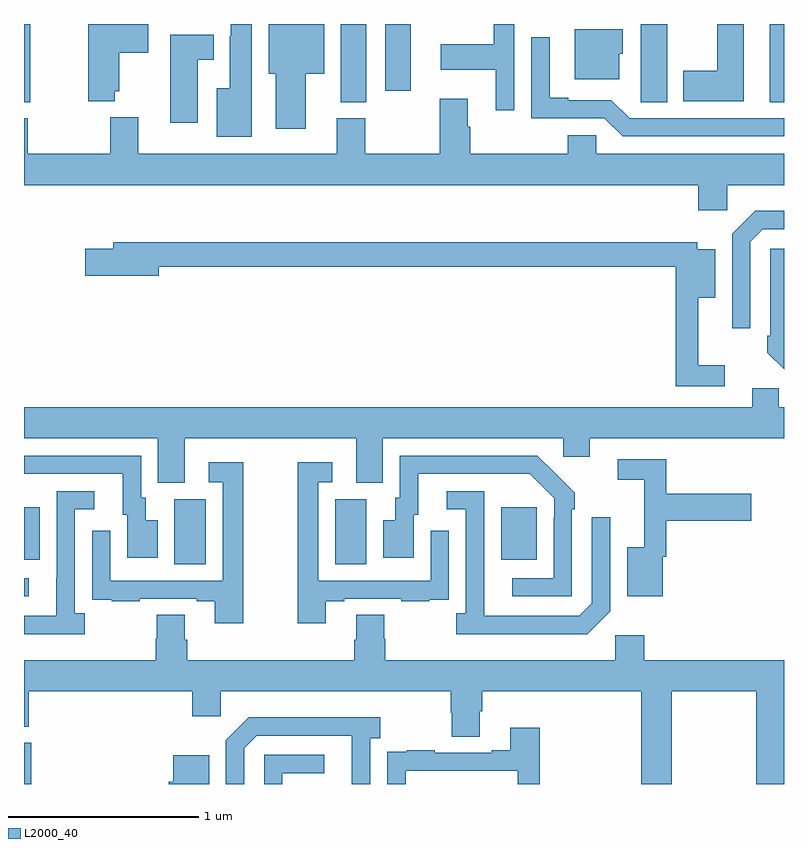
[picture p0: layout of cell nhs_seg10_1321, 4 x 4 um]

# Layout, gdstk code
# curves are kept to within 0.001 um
import gdstk
lib = gdstk.Library(unit=1e-6, precision=1e-09)
def R(c, l, rs):  # rectangles x0, y0, x1, y1
    for r in rs: c.add(gdstk.rectangle(r[:2], r[2:], *l))
def P(c, l, *ps):  # polygons
    for p in ps: c.add(gdstk.Polygon(p, *l))
L2000_40 = (2000, 40)

nhs_seg10_1321 = lib.new_cell('nhs_seg10_1321')
R(nhs_seg10_1321, L2000_40, [(179,1294.5,179.039,1294.716), (179,1295.487,179.026,1295.583), (179.792,1295.656,179.956,1296), (180.638,1295.656,180.802,1296), (179,1295.681,179.083,1295.956), (181.511,1295.681,181.699,1295.956), (179,1298.089,179.034,1298.5), (180.668,1298.089,180.802,1298.5), (182.924,1298.089,183,1298.5), (180.902,1298.148,181.036,1298.5)])
P(nhs_seg10_1321, L2000_40, [(180.484,1298.237),(180.58,1298.237),(180.58,1298.5),(180.287,1298.5),(180.287,1298.237),(180.326,1298.237),(180.326,1297.95),(180.484,1297.95)],
  [(182.788,1298.5),(182.648,1298.5),(182.648,1298.253),(182.471,1298.253),(182.471,1298.093),(182.788,1298.093)],
  [(179.478,1298.147),(179.5,1298.147),(179.5,1298.35),(179.653,1298.35),(179.653,1298.5),(179.338,1298.5),(179.338,1298.093),(179.478,1298.093)],
  [(181.581,1298.5),(181.473,1298.5),(181.473,1298.393),(181.194,1298.393),(181.194,1298.258),(181.484,1298.258),(181.484,1298.046),(181.581,1298.046)],
  [(182.386,1298.5),(182.246,1298.5),(182.246,1298.2),(182.247,1298.2),(182.247,1298.089),(182.386,1298.089)],
  [(180.199,1298.5),(180.087,1298.5),(180.087,1298.435),(180.083,1298.435),(180.083,1298.161),(180.014,1298.161),(180.014,1297.907),(180.199,1297.907)],
  [(182.134,1298.343),(182.152,1298.343),(182.152,1298.473),(181.898,1298.473),(181.898,1298.21),(182.134,1298.21)],
  [(179.914,1298.312),(179.998,1298.312),(179.998,1298.443),(179.771,1298.443),(179.771,1297.98),(179.914,1297.98)],
  [(183,1298.004),(182.187,1298.004),(182.091,1298.1),(181.864,1298.1),(181.864,1298.113),(181.768,1298.113),(181.768,1298.431),(181.671,1298.431),(181.671,1298.004),(182.055,1298.004),(182.151,1297.908),(183,1297.908)],
  [(182.7,1297.652),(183,1297.652),(183,1297.816),(182.013,1297.816),(182.013,1297.914),(181.862,1297.914),(181.862,1297.816),(181.349,1297.816),(181.349,1297.958),(181.336,1297.958),(181.336,1298.107),(181.189,1298.107),(181.189,1297.816),(180.795,1297.816),(180.795,1298.004),(180.647,1298.004),(180.647,1297.816),(179.602,1297.816),(179.602,1298.008),(179.455,1298.008),(179.455,1297.816),(179.019,1297.816),(179.019,1298.004),(179,1298.004),(179,1297.652),(182.549,1297.652),(182.549,1297.521),(182.7,1297.521)],
  [(182.823,1297.353),(182.889,1297.419),(183,1297.419),(183,1297.516),(182.848,1297.516),(182.727,1297.395),(182.727,1296.9),(182.823,1296.9)],
  [(182.689,1296.703),(182.549,1296.703),(182.549,1297.058),(182.638,1297.058),(182.638,1297.315),(182.544,1297.315),(182.544,1297.351),(179.471,1297.351),(179.471,1297.317),(179.322,1297.317),(179.322,1297.175),(179.71,1297.175),(179.71,1297.222),(182.431,1297.222),(182.431,1296.594),(182.689,1296.594)],
  [(183,1297.317),(182.928,1297.317),(182.928,1296.859),(182.913,1296.859),(182.913,1296.771),(183,1296.684)],
  [(179.845,1296.32),(180.749,1296.32),(180.749,1296.085),(180.889,1296.085),(180.889,1296.32),(181.839,1296.32),(181.839,1296.222),(181.978,1296.222),(181.978,1296.32),(183,1296.32),(183,1296.484),(182.973,1296.484),(182.973,1296.582),(182.834,1296.582),(182.834,1296.484),(179,1296.484),(179,1296.32),(179.705,1296.32),(179.705,1296.085),(179.845,1296.085)],
  [(181.884,1295.945),(181.899,1295.945),(181.899,1296.033),(181.702,1296.228),(180.978,1296.228),(180.978,1296.006),(180.953,1296.006),(180.953,1295.887),(180.89,1295.887),(180.89,1295.691),(181.051,1295.691),(181.051,1295.916),(181.075,1295.916),(181.075,1296.132),(181.663,1296.132),(181.791,1296.003),(181.791,1295.903),(181.788,1295.903),(181.788,1295.583),(181.569,1295.583),(181.569,1295.487),(181.884,1295.487)],
  [(179.704,1295.887),(179.641,1295.887),(179.641,1296.006),(179.616,1296.006),(179.616,1296.228),(179,1296.228),(179,1296.132),(179.519,1296.132),(179.519,1295.916),(179.543,1295.916),(179.543,1295.691),(179.704,1295.691)],
  [(182.362,1295.697),(182.381,1295.697),(182.381,1295.885),(182.827,1295.885),(182.827,1296.027),(182.381,1296.027),(182.381,1296.21),(182.124,1296.21),(182.124,1296.102),(182.264,1296.102),(182.264,1295.746),(182.174,1295.746),(182.174,1295.489),(182.362,1295.489)],
  [(180.154,1296.193),(179.973,1296.193),(179.973,1296.087),(180.045,1296.087),(180.045,1295.571),(179.454,1295.571),(179.454,1295.833),(179.358,1295.833),(179.358,1295.578),(179.359,1295.578),(179.359,1295.469),(179.461,1295.469),(179.461,1295.463),(179.609,1295.463),(179.609,1295.475),(179.909,1295.475),(179.909,1295.463),(180.005,1295.463),(180.005,1295.346),(180.154,1295.346)],
  [(180.589,1295.463),(180.685,1295.463),(180.685,1295.475),(180.985,1295.475),(180.985,1295.463),(181.133,1295.463),(181.133,1295.469),(181.235,1295.469),(181.235,1295.578),(181.236,1295.578),(181.236,1295.833),(181.14,1295.833),(181.14,1295.571),(180.549,1295.571),(180.549,1296.087),(180.622,1296.087),(180.622,1296.193),(180.441,1296.193),(180.441,1295.346),(180.589,1295.346)],
  [(179.32,1295.398),(179.268,1295.398),(179.268,1295.946),(179.371,1295.946),(179.371,1296.042),(179.172,1296.042),(179.172,1295.585),(179.171,1295.585),(179.171,1295.385),(179,1295.385),(179,1295.288),(179.32,1295.288)],
  [(182.085,1295.409),(182.085,1295.905),(181.989,1295.905),(181.989,1295.451),(181.923,1295.385),(181.423,1295.385),(181.422,1296.042),(181.224,1296.042),(181.224,1295.946),(181.326,1295.946),(181.326,1295.398),(181.275,1295.398),(181.275,1295.288),(181.964,1295.288)],
  [(179.885,1294.857),(180.036,1294.857),(180.036,1294.988),(181.247,1294.988),(181.247,1294.875),(181.252,1294.875),(181.252,1294.75),(181.399,1294.75),(181.399,1294.882),(181.412,1294.882),(181.412,1294.988),(182.249,1294.988),(182.249,1294.5),(182.409,1294.5),(182.409,1294.988),(182.854,1294.988),(182.854,1294.5),(183,1294.5),(183,1295.152),(182.264,1295.152),(182.264,1295.284),(182.112,1295.284),(182.112,1295.152),(180.902,1295.152),(180.902,1295.265),(180.897,1295.265),(180.897,1295.39),(180.749,1295.39),(180.749,1295.258),(180.737,1295.258),(180.737,1295.152),(179.858,1295.152),(179.858,1295.258),(179.845,1295.258),(179.845,1295.39),(179.698,1295.39),(179.698,1295.265),(179.693,1295.265),(179.693,1295.152),(179,1295.152),(179,1294.801),(179.024,1294.801),(179.024,1294.988),(179.885,1294.988)],
  [(180.159,1294.689),(180.225,1294.755),(180.725,1294.755),(180.726,1294.5),(180.822,1294.5),(180.822,1294.742),(180.874,1294.742),(180.874,1294.852),(180.184,1294.852),(180.063,1294.731),(180.063,1294.5),(180.159,1294.5)],
  [(181.008,1294.569),(181.599,1294.569),(181.599,1294.5),(181.715,1294.5),(181.715,1294.795),(181.559,1294.795),(181.559,1294.678),(181.463,1294.678),(181.463,1294.665),(181.163,1294.665),(181.163,1294.678),(181.015,1294.678),(181.015,1294.671),(180.913,1294.671),(180.913,1294.562),(180.912,1294.562),(180.912,1294.5),(181.008,1294.5)],
  [(180.36,1294.557),(180.58,1294.557),(180.58,1294.653),(180.264,1294.653),(180.264,1294.5),(180.36,1294.5)],
  [(179.974,1294.651),(179.786,1294.651),(179.786,1294.512),(179.762,1294.512),(179.762,1294.5),(179.974,1294.5)])

lib.write_gds('nhs_seg10_1321.gds')
